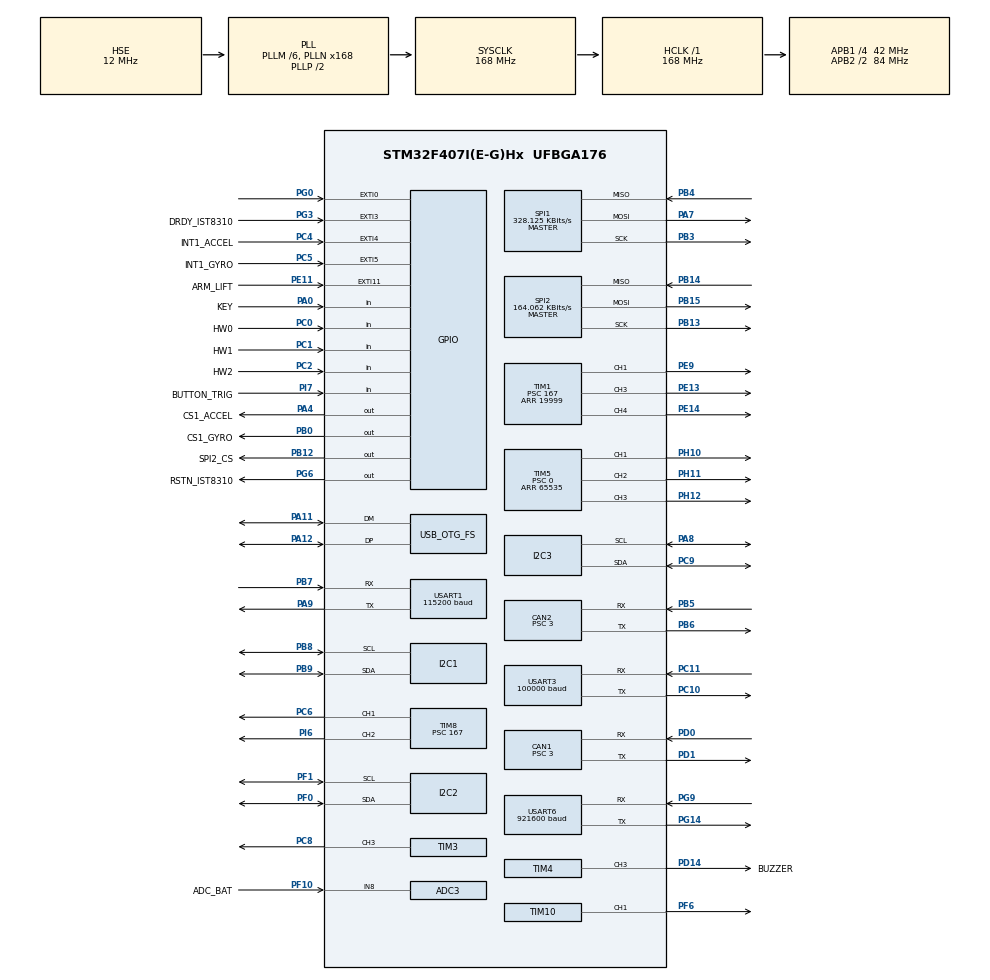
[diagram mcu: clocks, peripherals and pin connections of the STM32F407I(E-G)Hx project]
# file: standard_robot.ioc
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ADC1.Channel-0\#ChannelRegularConversion=ADC_CHANNEL_TEMPSENSOR
ADC1.ClockPrescaler=ADC_CLOCK_SYNC_PCLK_DIV6
ADC1.NbrOfConversionFlag=1
ADC1.Rank-0\#ChannelRegularConversion=1
ADC1.SamplingTime-0\#ChannelRegularConversion=ADC_SAMPLETIME_3CYCLES
ADC1.master=1
ADC3.Channel-0\#ChannelRegularConversion=ADC_CHANNEL_8
ADC3.ClockPrescaler=ADC_CLOCK_SYNC_PCLK_DIV6
ADC3.NbrOfConversionFlag=1
ADC3.Rank-0\#ChannelRegularConversion=1
ADC3.SamplingTime-0\#ChannelRegularConversion=ADC_SAMPLETIME_3CYCLES
CAN1.BS1=CAN_BS1_10TQ
CAN1.BS2=CAN_BS2_3TQ
CAN1.CalculateBaudRate=1000000
CAN1.CalculateTimeQuantum=71.42857142857143
CAN1.Prescaler=3
CAN2.BS1=CAN_BS1_10TQ
CAN2.BS2=CAN_BS2_3TQ
CAN2.CalculateBaudRate=1000000
CAN2.CalculateTimeQuantum=71.42857142857143
CAN2.Prescaler=3
Dma.I2C2_TX.2.Direction=DMA_MEMORY_TO_PERIPH
Dma.I2C2_TX.2.FIFOMode=DMA_FIFOMODE_DISABLE
Dma.I2C2_TX.2.Instance=DMA1_Stream7
Dma.I2C2_TX.2.MemDataAlignment=DMA_MDATAALIGN_BYTE
Dma.I2C2_TX.2.MemInc=DMA_MINC_ENABLE
Dma.I2C2_TX.2.Mode=DMA_NORMAL
Dma.I2C2_TX.2.PeriphDataAlignment=DMA_PDATAALIGN_BYTE
Dma.I2C2_TX.2.PeriphInc=DMA_PINC_DISABLE
Dma.I2C2_TX.2.Priority=DMA_PRIORITY_HIGH
Dma.Request0=SPI1_RX
Dma.Request1=SPI1_TX
Dma.Request2=I2C2_TX
Dma.Request3=USART3_RX
Dma.Request4=USART1_TX
Dma.Request5=USART1_RX
Dma.Request6=USART6_RX
Dma.Request7=USART6_TX
Dma.SPI1_RX.0.Direction=DMA_PERIPH_TO_MEMORY
Dma.SPI1_RX.0.FIFOMode=DMA_FIFOMODE_DISABLE
Dma.SPI1_RX.0.Instance=DMA2_Stream2
Dma.SPI1_RX.0.MemDataAlignment=DMA_MDATAALIGN_BYTE
Dma.SPI1_RX.0.MemInc=DMA_MINC_ENABLE
Dma.SPI1_RX.0.Mode=DMA_NORMAL
Dma.SPI1_RX.0.PeriphDataAlignment=DMA_PDATAALIGN_BYTE
Dma.SPI1_RX.0.PeriphInc=DMA_PINC_DISABLE
Dma.SPI1_RX.0.Priority=DMA_PRIORITY_VERY_HIGH
Dma.SPI1_TX.1.Direction=DMA_MEMORY_TO_PERIPH
Dma.SPI1_TX.1.FIFOMode=DMA_FIFOMODE_DISABLE
Dma.SPI1_TX.1.Instance=DMA2_Stream3
Dma.SPI1_TX.1.MemDataAlignment=DMA_MDATAALIGN_BYTE
Dma.SPI1_TX.1.MemInc=DMA_MINC_ENABLE
Dma.SPI1_TX.1.Mode=DMA_NORMAL
Dma.SPI1_TX.1.PeriphDataAlignment=DMA_PDATAALIGN_BYTE
Dma.SPI1_TX.1.PeriphInc=DMA_PINC_DISABLE
Dma.SPI1_TX.1.Priority=DMA_PRIORITY_HIGH
Dma.USART1_RX.5.Direction=DMA_PERIPH_TO_MEMORY
Dma.USART1_RX.5.FIFOMode=DMA_FIFOMODE_DISABLE
Dma.USART1_RX.5.Instance=DMA2_Stream5
Dma.USART1_RX.5.MemDataAlignment=DMA_MDATAALIGN_BYTE
Dma.USART1_RX.5.MemInc=DMA_MINC_ENABLE
Dma.USART1_RX.5.Mode=DMA_NORMAL
Dma.USART1_RX.5.PeriphDataAlignment=DMA_PDATAALIGN_BYTE
Dma.USART1_RX.5.PeriphInc=DMA_PINC_DISABLE
Dma.USART1_RX.5.Priority=DMA_PRIORITY_HIGH
Dma.USART1_TX.4.Direction=DMA_MEMORY_TO_PERIPH
Dma.USART1_TX.4.FIFOMode=DMA_FIFOMODE_DISABLE
Dma.USART1_TX.4.Instance=DMA2_Stream7
Dma.USART1_TX.4.MemDataAlignment=DMA_MDATAALIGN_BYTE
Dma.USART1_TX.4.MemInc=DMA_MINC_ENABLE
Dma.USART1_TX.4.Mode=DMA_NORMAL
Dma.USART1_TX.4.PeriphDataAlignment=DMA_PDATAALIGN_BYTE
Dma.USART1_TX.4.PeriphInc=DMA_PINC_DISABLE
Dma.USART1_TX.4.Priority=DMA_PRIORITY_MEDIUM
Dma.USART3_RX.3.Direction=DMA_PERIPH_TO_MEMORY
Dma.USART3_RX.3.FIFOMode=DMA_FIFOMODE_DISABLE
Dma.USART3_RX.3.Instance=DMA1_Stream1
Dma.USART3_RX.3.MemDataAlignment=DMA_MDATAALIGN_BYTE
Dma.USART3_RX.3.MemInc=DMA_MINC_ENABLE
Dma.USART3_RX.3.Mode=DMA_NORMAL
Dma.USART3_RX.3.PeriphDataAlignment=DMA_PDATAALIGN_BYTE
Dma.USART3_RX.3.PeriphInc=DMA_PINC_DISABLE
Dma.USART3_RX.3.Priority=DMA_PRIORITY_VERY_HIGH
Dma.USART6_RX.6.Direction=DMA_PERIPH_TO_MEMORY
Dma.USART6_RX.6.FIFOMode=DMA_FIFOMODE_DISABLE
Dma.USART6_RX.6.Instance=DMA2_Stream1
Dma.USART6_RX.6.MemDataAlignment=DMA_MDATAALIGN_BYTE
Dma.USART6_RX.6.MemInc=DMA_MINC_ENABLE
Dma.USART6_RX.6.Mode=DMA_NORMAL
Dma.USART6_RX.6.PeriphDataAlignment=DMA_PDATAALIGN_BYTE
Dma.USART6_RX.6.PeriphInc=DMA_PINC_DISABLE
Dma.USART6_RX.6.Priority=DMA_PRIORITY_HIGH
Dma.USART6_TX.7.Direction=DMA_MEMORY_TO_PERIPH
Dma.USART6_TX.7.FIFOMode=DMA_FIFOMODE_DISABLE
Dma.USART6_TX.7.Instance=DMA2_Stream6
Dma.USART6_TX.7.MemDataAlignment=DMA_MDATAALIGN_BYTE
Dma.USART6_TX.7.MemInc=DMA_MINC_ENABLE
Dma.USART6_TX.7.Mode=DMA_NORMAL
Dma.USART6_TX.7.PeriphDataAlignment=DMA_PDATAALIGN_BYTE
Dma.USART6_TX.7.PeriphInc=DMA_PINC_DISABLE
Dma.USART6_TX.7.Priority=DMA_PRIORITY_MEDIUM
FREERTOS.INCLUDE_eTaskGetState=1
FREERTOS.INCLUDE_pcTaskGetTaskName=1
FREERTOS.INCLUDE_uxTaskGetStackHighWaterMark=1
FREERTOS.INCLUDE_vTaskCleanUpResources=1
FREERTOS.INCLUDE_vTaskDelayUntil=1
FREERTOS.INCLUDE_xEventGroupSetBitFromISR=1
FREERTOS.INCLUDE_xQueueGetMutexHolder=1
FREERTOS.INCLUDE_xSemaphoreGetMutexHolder=1
FREERTOS.INCLUDE_xTaskAbortDelay=1
FREERTOS.INCLUDE_xTaskGetCurrentTaskHandle=1
FREERTOS.INCLUDE_xTaskGetHandle=1
FREERTOS.INCLUDE_xTimerPendFunctionCall=1
FREERTOS.Tasks01=INSTask,3,1024,StartINSTask,Default,NULL,Dynamic,NULL,NULL;ledTask,-3,512,led_Task,As external,NULL,Dynamic,NULL,NULL
FREERTOS.configTOTAL_HEAP_SIZE=24576
FREERTOS.configUSE_NEWLIB_REENTRANT=1
I2C1.I2C_Mode=I2C_Fast
I2C2.I2C_Mode=I2C_Fast
I2C3.I2C_Mode=I2C_Fast
Mcu.Family=STM32F4
Mcu.Name=STM32F407I(E-G)Hx
Mcu.Package=UFBGA176
NVIC.CAN1_RX0_IRQn=true\:6\:0\:true\:false\:true\:true\:true\:true\:true
NVIC.CAN1_RX1_IRQn=true\:5\:0\:false\:false\:true\:true\:true\:true\:true
NVIC.CAN2_RX0_IRQn=true\:5\:0\:false\:false\:true\:true\:true\:true\:true
NVIC.DMA1_Stream1_IRQn=true\:5\:0\:true\:false\:false\:true\:false\:false\:true
NVIC.DMA1_Stream7_IRQn=true\:5\:0\:true\:false\:false\:true\:false\:true\:true
NVIC.DMA2_Stream1_IRQn=true\:5\:0\:false\:false\:true\:true\:false\:true\:true
NVIC.DMA2_Stream2_IRQn=true\:5\:0\:true\:false\:false\:true\:false\:true\:true
NVIC.DMA2_Stream3_IRQn=true\:5\:0\:true\:false\:false\:true\:false\:true\:true
NVIC.DMA2_Stream5_IRQn=true\:5\:0\:false\:false\:true\:true\:false\:true\:true
NVIC.DMA2_Stream6_IRQn=true\:5\:0\:false\:false\:true\:true\:false\:true\:true
NVIC.DMA2_Stream7_IRQn=true\:5\:0\:true\:false\:true\:true\:false\:true\:true
NVIC.EXTI0_IRQn=true\:5\:0\:false\:false\:true\:true\:true\:true\:true
NVIC.EXTI3_IRQn=true\:5\:0\:false\:false\:true\:true\:true\:true\:true
NVIC.EXTI4_IRQn=true\:5\:0\:false\:false\:true\:true\:true\:true\:true
NVIC.EXTI9_5_IRQn=true\:5\:0\:false\:false\:true\:true\:true\:true\:true
NVIC.OTG_FS_IRQn=true\:5\:0\:false\:false\:true\:true\:false\:true\:true
NVIC.PriorityGroup=NVIC_PRIORITYGROUP_4
NVIC.TIM6_DAC_IRQn=true\:0\:0\:false\:false\:true\:false\:false\:true\:true
NVIC.TimeBase=TIM6_DAC_IRQn
NVIC.TimeBaseIP=TIM6
NVIC.USART1_IRQn=true\:5\:0\:false\:false\:true\:true\:true\:true\:true
NVIC.USART3_IRQn=true\:4\:0\:true\:false\:false\:false\:true\:true\:true
NVIC.USART6_IRQn=true\:5\:0\:true\:false\:false\:true\:true\:true\:true
PA0-WKUP.GPIO_Label=KEY
PA0-WKUP.GPIO_PuPd=GPIO_PULLUP
PA0-WKUP.Signal=GPIO_Input
PA11.Mode=Device_Only
PA11.Signal=USB_OTG_FS_DM
PA12.Mode=Device_Only
PA12.Signal=USB_OTG_FS_DP
PA13.Mode=Serial_Wire
PA13.Signal=SYS_JTMS-SWDIO
PA14.Mode=Serial_Wire
PA14.Signal=SYS_JTCK-SWCLK
PA4.GPIO_Label=CS1_ACCEL
PA4.GPIO_PuPd=GPIO_PULLUP
PA4.GPIO_Speed=GPIO_SPEED_FREQ_HIGH
PA4.PinState=GPIO_PIN_SET
PA4.Signal=GPIO_Output
PA7.GPIO_PuPd=GPIO_PULLUP
PA7.Mode=Full_Duplex_Master
PA7.Signal=SPI1_MOSI
PA8.GPIO_Pu=GPIO_PULLUP
PA8.Mode=I2C
PA8.Signal=I2C3_SCL
PA9.Mode=Asynchronous
PA9.Signal=USART1_TX
PB0.GPIO_Label=CS1_GYRO
PB0.GPIO_PuPd=GPIO_PULLUP
PB0.GPIO_Speed=GPIO_SPEED_FREQ_HIGH
PB0.PinState=GPIO_PIN_SET
PB0.Signal=GPIO_Output
PB12.GPIO_Label=SPI2_CS
PB12.GPIO_PuPd=GPIO_PULLUP
PB12.GPIO_Speed=GPIO_SPEED_FREQ_MEDIUM
PB12.PinState=GPIO_PIN_SET
PB12.Signal=GPIO_Output
PB13.GPIO_PuPd=GPIO_PULLUP
PB13.Mode=Full_Duplex_Master
PB13.Signal=SPI2_SCK
PB14.GPIO_PuPd=GPIO_PULLUP
PB14.Mode=Full_Duplex_Master
PB14.Signal=SPI2_MISO
PB15.GPIO_PuPd=GPIO_PULLUP
PB15.Mode=Full_Duplex_Master
PB15.Signal=SPI2_MOSI
PB3.GPIO_PuPd=GPIO_PULLUP
PB3.Mode=Full_Duplex_Master
PB3.Signal=SPI1_SCK
PB4.GPIO_PuPd=GPIO_PULLUP
PB4.Mode=Full_Duplex_Master
PB4.Signal=SPI1_MISO
PB5.Mode=CAN_Activate
PB5.Signal=CAN2_RX
PB6.Mode=CAN_Activate
PB6.Signal=CAN2_TX
PB7.Mode=Asynchronous
PB7.Signal=USART1_RX
PB8.GPIO_Pu=GPIO_PULLUP
PB8.Mode=I2C
PB8.Signal=I2C1_SCL
PB9.GPIO_Pu=GPIO_PULLUP
PB9.Mode=I2C
PB9.Signal=I2C1_SDA
PC0.GPIO_Label=HW0
PC0.Signal=GPIO_Input
PC1.GPIO_Label=HW1
PC1.Signal=GPIO_Input
PC10.Mode=Asynchronous
PC10.Signal=USART3_TX
PC11.Mode=Asynchronous
PC11.Signal=USART3_RX
PC2.GPIO_Label=HW2
PC2.Signal=GPIO_Input
PC4.GPIO_Label=INT1_ACCEL
PC4.GPIO_ModeDefaultEXTI=GPIO_MODE_IT_FALLING
PC4.GPIO_PuPd=GPIO_PULLUP
PC4.Signal=GPXTI4
PC5.GPIO_Label=INT1_GYRO
PC5.GPIO_ModeDefaultEXTI=GPIO_MODE_IT_FALLING
PC5.GPIO_PuPd=GPIO_PULLUP
PC5.Signal=GPXTI5
PC6.GPIO_PuPd=GPIO_PULLUP
PC6.GPIO_Speed=GPIO_SPEED_FREQ_HIGH
PC6.Signal=S_TIM8_CH1
PC8.GPIO_PuPd=GPIO_PULLUP
PC8.GPIO_Speed=GPIO_SPEED_FREQ_HIGH
PC8.Signal=S_TIM3_CH3
PC9.GPIO_Pu=GPIO_PULLUP
PC9.Mode=I2C
PC9.Signal=I2C3_SDA
PD0.Mode=CAN_Activate
PD0.Signal=CAN1_RX
PD1.Mode=CAN_Activate
PD1.Signal=CAN1_TX
PD14.GPIO_Label=BUZZER
PD14.GPIO_PuPd=GPIO_PULLUP
PD14.GPIO_Speed=GPIO_SPEED_FREQ_VERY_HIGH
PD14.Signal=S_TIM4_CH3
PE11.GPIO_Label=ARM_LIFT
PE11.GPIO_ModeDefaultEXTI=GPIO_MODE_IT_RISING
PE11.GPIO_PuPd=GPIO_PULLDOWN
PE11.Signal=GPXTI11
PE13.GPIO_PuPd=GPIO_PULLUP
PE13.GPIO_Speed=GPIO_SPEED_FREQ_HIGH
PE13.Signal=S_TIM1_CH3
PE14.GPIO_PuPd=GPIO_PULLUP
PE14.GPIO_Speed=GPIO_SPEED_FREQ_HIGH
PE14.Signal=S_TIM1_CH4
PE9.GPIO_PuPd=GPIO_PULLUP
PE9.GPIO_Speed=GPIO_SPEED_FREQ_HIGH
PE9.Signal=S_TIM1_CH1
PF0.GPIO_Pu=GPIO_PULLUP
PF0.Mode=I2C
PF0.Signal=I2C2_SDA
PF1.GPIO_Pu=GPIO_PULLUP
PF1.Mode=I2C
PF1.Signal=I2C2_SCL
PF10.GPIO_Label=ADC_BAT
PF10.Mode=IN8
PF10.Signal=ADC3_IN8
PF6.GPIO_PuPd=GPIO_PULLUP
PF6.GPIO_Speed=GPIO_SPEED_FREQ_HIGH
PF6.Signal=S_TIM10_CH1
PG0.GPIO_ModeDefaultEXTI=GPIO_MODE_IT_FALLING
PG0.GPIO_PuPd=GPIO_PULLUP
PG0.Signal=GPXTI0
PG14.Mode=Asynchronous
PG14.Signal=USART6_TX
PG3.GPIO_Label=DRDY_IST8310
PG3.GPIO_ModeDefaultEXTI=GPIO_MODE_IT_FALLING
PG3.GPIO_PuPd=GPIO_PULLUP
PG3.Signal=GPXTI3
PG6.GPIO_Label=RSTN_IST8310
PG6.GPIO_PuPd=GPIO_PULLUP
PG6.GPIO_Speed=GPIO_SPEED_FREQ_MEDIUM
PG6.PinState=GPIO_PIN_SET
PG6.Signal=GPIO_Output
PG9.Mode=Asynchronous
PG9.Signal=USART6_RX
PH0-OSC_IN.Mode=HSE-External-Oscillator
PH0-OSC_IN.Signal=RCC_OSC_IN
PH1-OSC_OUT.Mode=HSE-External-Oscillator
PH1-OSC_OUT.Signal=RCC_OSC_OUT
PH10.GPIO_PuPd=GPIO_PULLUP
PH10.GPIO_Speed=GPIO_SPEED_FREQ_HIGH
PH10.Signal=S_TIM5_CH1
PH11.GPIO_PuPd=GPIO_PULLUP
PH11.GPIO_Speed=GPIO_SPEED_FREQ_HIGH
PH11.Signal=S_TIM5_CH2
PH12.GPIO_PuPd=GPIO_PULLUP
PH12.GPIO_Speed=GPIO_SPEED_FREQ_HIGH
PH12.Signal=S_TIM5_CH3
PI6.GPIO_PuPd=GPIO_PULLUP
PI6.GPIO_Speed=GPIO_SPEED_FREQ_HIGH
PI6.Signal=S_TIM8_CH2
PI7.GPIO_Label=BUTTON_TRIG
PI7.GPIO_PuPd=GPIO_PULLUP
PI7.Signal=GPIO_Input
ProjectManager.HeapSize=0x2000
ProjectManager.StackSize=0x2000
ProjectManager.TargetToolchain=CMake
RCC.48MHZClocksFreq_Value=48000000
RCC.AHBFreq_Value=168000000
RCC.APB1CLKDivider=RCC_HCLK_DIV4
RCC.APB1Freq_Value=42000000
RCC.APB1TimFreq_Value=84000000
RCC.APB2CLKDivider=RCC_HCLK_DIV2
RCC.APB2Freq_Value=84000000
RCC.APB2TimFreq_Value=168000000
RCC.CortexFreq_Value=168000000
RCC.HCLKFreq_Value=168000000
RCC.HSE_VALUE=12000000
RCC.HSI_VALUE=16000000
RCC.LSE_VALUE=32768
RCC.PLLM=6
RCC.PLLN=168
RCC.PLLQ=7
RCC.RCC_RTC_Clock_SourceVirtual=RCC_RTCCLKSOURCE_HSE_DIV30
RCC.RCC_RTC_Clock_Source_FROM_HSE=RCC_RTCCLKSOURCE_HSE_DIV30
RCC.SYSCLKFreq_VALUE=168000000
RCC.SYSCLKSource=RCC_SYSCLKSOURCE_PLLCLK
RCC.VCOOutputFreq_Value=336000000
RTC.AsynchPrediv=124
RTC.SynchPrediv=3199
SH.S_TIM10_CH1.0=TIM10_CH1,PWM Generation1 CH1
SH.S_TIM1_CH1.0=TIM1_CH1,PWM Generation1 CH1
SH.S_TIM1_CH3.0=TIM1_CH3,PWM Generation3 CH3
SH.S_TIM1_CH4.0=TIM1_CH4,PWM Generation4 CH4
SH.S_TIM3_CH3.0=TIM3_CH3,PWM Generation3 CH3
SH.S_TIM4_CH3.0=TIM4_CH3,PWM Generation3 CH3
SH.S_TIM5_CH1.0=TIM5_CH1,PWM Generation1 CH1
SH.S_TIM5_CH2.0=TIM5_CH2,PWM Generation2 CH2
SH.S_TIM5_CH3.0=TIM5_CH3,PWM Generation3 CH3
SH.S_TIM8_CH1.0=TIM8_CH1,PWM Generation1 CH1
SH.S_TIM8_CH2.0=TIM8_CH2,PWM Generation2 CH2
SPI1.BaudRatePrescaler=SPI_BAUDRATEPRESCALER_256
SPI1.CLKPhase=SPI_PHASE_2EDGE
SPI1.CLKPolarity=SPI_POLARITY_HIGH
SPI1.CalculateBaudRate=328.125 KBits/s
SPI1.Direction=SPI_DIRECTION_2LINES
SPI1.Mode=SPI_MODE_MASTER
SPI1.VirtualType=VM_MASTER
SPI2.BaudRatePrescaler=SPI_BAUDRATEPRESCALER_256
SPI2.CLKPhase=SPI_PHASE_2EDGE
SPI2.CLKPolarity=SPI_POLARITY_HIGH
SPI2.CalculateBaudRate=164.062 KBits/s
SPI2.Direction=SPI_DIRECTION_2LINES
SPI2.Mode=SPI_MODE_MASTER
SPI2.VirtualType=VM_MASTER
STMicroelectronics.X-CUBE-ALGOBUILD.1.4.0.LibraryCcDSPOoLibraryJjDSPOoLibrary=true
TIM1.Channel-PWM\ Generation1\ CH1=TIM_CHANNEL_1
TIM1.Channel-PWM\ Generation3\ CH3=TIM_CHANNEL_3
TIM1.Channel-PWM\ Generation4\ CH4=TIM_CHANNEL_4
TIM1.Period=19999
TIM1.Prescaler=167
TIM1.Pulse-PWM\ Generation1\ CH1=1000
TIM1.Pulse-PWM\ Generation3\ CH3=1000
TIM1.Pulse-PWM\ Generation4\ CH4=1000
TIM10.Channel=TIM_CHANNEL_1
TIM10.Period=4999
TIM3.Channel-PWM\ Generation3\ CH3=TIM_CHANNEL_3
TIM3.Period=1000
TIM3.Prescaler=83
TIM4.Channel-PWM\ Generation3\ CH3=TIM_CHANNEL_3
TIM4.Period=65535
TIM4.Prescaler=167
TIM5.Channel-PWM\ Generation1\ CH1=TIM_CHANNEL_1
TIM5.Channel-PWM\ Generation2\ CH2=TIM_CHANNEL_2
TIM5.Channel-PWM\ Generation3\ CH3=TIM_CHANNEL_3
TIM5.Period=65535
TIM5.Prescaler=0
TIM8.Channel-PWM\ Generation1\ CH1=TIM_CHANNEL_1
TIM8.Channel-PWM\ Generation2\ CH2=TIM_CHANNEL_2
TIM8.Period=19999
TIM8.Prescaler=167
TIM8.Pulse-PWM\ Generation1\ CH1=1000
TIM8.Pulse-PWM\ Generation2\ CH2=1000
USART1.BaudRate=115200
USART1.VirtualMode=VM_ASYNC
USART3.BaudRate=100000
USART3.Parity=PARITY_EVEN
USART3.VirtualMode=VM_ASYNC
USART6.BaudRate=921600
USART6.VirtualMode=VM_ASYNC
USB_DEVICE.CLASS_NAME_FS=CDC
USB_DEVICE.VirtualMode-CDC_FS=Cdc
USB_DEVICE.VirtualModeFS=Cdc_FS
USB_OTG_FS.VirtualMode=Device_Only
VP_ADC1_TempSens_Input.Mode=IN-TempSens
VP_ADC1_Vref_Input.Mode=IN-Vrefint
VP_CRC_VS_CRC.Mode=CRC_Activate
VP_FREERTOS_VS_CMSIS_V1.Mode=CMSIS_V1
VP_RNG_VS_RNG.Mode=RNG_Activate
VP_RTC_VS_RTC_Activate.Mode=RTC_Enabled
VP_STMicroelectronics.X-CUBE-ALGOBUILD_VS_DSPOoLibraryJjLibrary_1.4.0_1.4.0.Mode=DSPOoLibraryJjLibrary
VP_SYS_VS_tim6.Mode=TIM6
VP_TIM10_VS_ClockSourceINT.Mode=Enable_Timer
VP_TIM1_VS_ClockSourceINT.Mode=Internal
VP_TIM3_VS_ClockSourceINT.Mode=Internal
VP_TIM4_VS_ClockSourceINT.Mode=Internal
VP_TIM5_VS_ClockSourceINT.Mode=Internal
VP_TIM8_VS_ClockSourceINT.Mode=Internal
VP_USB_DEVICE_VS_USB_DEVICE_CDC_FS.Mode=CDC_FS
board=custom

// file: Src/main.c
/* USER CODE BEGIN Header */
/**
  ******************************************************************************
  * @file           : main.c
  * @brief          : Main program body
  ******************************************************************************
  * @attention
  *
  * Copyright (c) 2025 STMicroelectronics.
  * All rights reserved.
  *
  * This software is licensed under terms that can be found in the LICENSE file
  * in the root directory of this software component.
  * If no LICENSE file comes with this software, it is provided AS-IS.
  *
  ******************************************************************************
  */
/* USER CODE END Header */
#include "main.h"
#include "cmsis_os.h"
#include "adc.h"
#include "can.h"
#include "crc.h"
#include "dma.h"
#include "i2c.h"
#include "rng.h"
#include "rtc.h"
#include "spi.h"
#include "tim.h"
#include "usart.h"
#include "usb_device.h"
#include "gpio.h"

/* USER CODE BEGIN Includes */
#include "bsp_can.h"
#include "bsp_delay.h"
#include "bsp_usart.h"
#include "DT7.h"
// #include "SEGGER_SYSVIEW.h"
#include "bsp_dwt.h"
// #include "SEGGER_RTT.h"
#include "BMI088driver.h"
/* USER CODE END Includes */

void SystemClock_Config(void);
void MX_FREERTOS_Init(void);

int main(void)
{

  /* MCU Configuration--------------------------------------------------------*/

  /* Reset of all peripherals, Initializes the Flash interface and the Systick. */
  HAL_Init();

  /* Configure the system clock */
  SystemClock_Config();

  /* Initialize all configured peripherals */
  MX_GPIO_Init();
  MX_DMA_Init();
  MX_ADC1_Init();
  MX_ADC3_Init();
  MX_CAN1_Init();
  MX_CAN2_Init();
  MX_I2C1_Init();
  MX_SPI1_Init();
  MX_TIM4_Init();
  MX_TIM5_Init();
  MX_USART3_UART_Init();
  MX_TIM8_Init();
  MX_CRC_Init();
  MX_RNG_Init();
  MX_I2C2_Init();
  MX_I2C3_Init();
  MX_RTC_Init();
  MX_SPI2_Init();
  MX_TIM1_Init();
  MX_TIM3_Init();
  MX_TIM10_Init();
  MX_USART1_UART_Init();
  MX_USART6_UART_Init();
  /* USER CODE BEGIN 2 */
  can_filter_init();
  delay_init();
  usart1_tx_dma_init();
  remote_control_init();
  MX_USB_DEVICE_Init();
  // ��ʼ�������
  HAL_TIM_PWM_Start(&htim3,TIM_CHANNEL_3);
  __HAL_TIM_SetCompare(&htim3, TIM_CHANNEL_3, 80);

  // SEGGER_RTT_WriteString(0, "RTT Test: System starting...\r\n");

  // SEGGER_SYSVIEW_Conf();

  DWT_Init(168);
    while (BMI088_init(&hspi1, 1) != BMI088_NO_ERROR)
        ;

  // SEGGER_RTT_WriteString(0, "SystemView initialized\r\n");
  /* USER CODE END 2 */

  /* Call init function for freertos objects (in cmsis_os2.c) */
  MX_FREERTOS_Init();

  /* Start scheduler */
  osKernelStart();

  /* We should never get here as control is now taken by the scheduler */

  /* Infinite loop */
  while (1)
  {

  }
}

void SystemClock_Config(void)
{
  RCC_OscInitTypeDef RCC_OscInitStruct = {0};
  RCC_ClkInitTypeDef RCC_ClkInitStruct = {0};

  /** Configure the main internal regulator output voltage
  */
  __HAL_RCC_PWR_CLK_ENABLE();
  __HAL_PWR_VOLTAGESCALING_CONFIG(PWR_REGULATOR_VOLTAGE_SCALE1);

  /** Initializes the RCC Oscillators according to the specified parameters
  * in the RCC_OscInitTypeDef structure.
  */
  RCC_OscInitStruct.OscillatorType = RCC_OSCILLATORTYPE_HSE;
  RCC_OscInitStruct.HSEState = RCC_HSE_ON;
  RCC_OscInitStruct.PLL.PLLState = RCC_PLL_ON;
  RCC_OscInitStruct.PLL.PLLSource = RCC_PLLSOURCE_HSE;
  RCC_OscInitStruct.PLL.PLLM = 6;
  RCC_OscInitStruct.PLL.PLLN = 168;
  RCC_OscInitStruct.PLL.PLLP = RCC_PLLP_DIV2;
  RCC_OscInitStruct.PLL.PLLQ = 7;
  if (HAL_RCC_OscConfig(&RCC_OscInitStruct) != HAL_OK)
  {
    Error_Handler();
  }

  /** Initializes the CPU, AHB and APB buses clocks
  */
  RCC_ClkInitStruct.ClockType = RCC_CLOCKTYPE_HCLK|RCC_CLOCKTYPE_SYSCLK
                              |RCC_CLOCKTYPE_PCLK1|RCC_CLOCKTYPE_PCLK2;
  RCC_ClkInitStruct.SYSCLKSource = RCC_SYSCLKSOURCE_PLLCLK;
  RCC_ClkInitStruct.AHBCLKDivider = RCC_SYSCLK_DIV1;
  RCC_ClkInitStruct.APB1CLKDivider = RCC_HCLK_DIV4;
  RCC_ClkInitStruct.APB2CLKDivider = RCC_HCLK_DIV2;

  if (HAL_RCC_ClockConfig(&RCC_ClkInitStruct, FLASH_LATENCY_5) != HAL_OK)
  {
    Error_Handler();
  }
}

void HAL_TIM_PeriodElapsedCallback(TIM_HandleTypeDef *htim)
{
  if (htim->Instance == TIM6)
  {
    HAL_IncTick();
  }
}

void Error_Handler(void)
{
  __disable_irq();
  while (1)
  {
  }
}

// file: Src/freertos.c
/* USER CODE BEGIN Header */
/**
  ******************************************************************************
  * File Name          : freertos.c
  * Description        : Code for freertos applications
  ******************************************************************************
  * @attention
  *
  * Copyright (c) 2025 STMicroelectronics.
  * All rights reserved.
  *
  * This software is licensed under terms that can be found in the LICENSE file
  * in the root directory of this software component.
  * If no LICENSE file comes with this software, it is provided AS-IS.
  *
  ******************************************************************************
  */
/* USER CODE END Header */

#include "FreeRTOS.h"
#include "task.h"
#include "main.h"
#include "cmsis_os.h"

/* USER CODE BEGIN Includes */
#include "ins_task.h" //* whx的
/* USER CODE END Includes */

/* USER CODE BEGIN Variables */
// osThreadId imuTaskHandle;
osThreadId gimbalTaskHandle;
osThreadId usbTaskHandle;
/* USER CODE END Variables */
osThreadId INSTaskHandle;
osThreadId ledTaskHandle;

/* USER CODE BEGIN FunctionPrototypes */
// extern void imu_task(void const * argument);
extern void gimbal_task(void const * argument);
extern void usbSendTask(void const * argument);
/* USER CODE END FunctionPrototypes */

void StartINSTask(void const * argument);
extern void led_Task(void const * argument);

extern void MX_USB_DEVICE_Init(void);
void MX_FREERTOS_Init(void); /* (MISRA C 2004 rule 8.1) */

/* GetIdleTaskMemory prototype (linked to static allocation support) */
void vApplicationGetIdleTaskMemory( StaticTask_t **ppxIdleTaskTCBBuffer, StackType_t **ppxIdleTaskStackBuffer, uint32_t *pulIdleTaskStackSize );

/* GetTimerTaskMemory prototype (linked to static allocation support) */
void vApplicationGetTimerTaskMemory( StaticTask_t **ppxTimerTaskTCBBuffer, StackType_t **ppxTimerTaskStackBuffer, uint32_t *pulTimerTaskStackSize );

/* USER CODE BEGIN GET_IDLE_TASK_MEMORY */
static StaticTask_t xIdleTaskTCBBuffer;
static StackType_t xIdleStack[configMINIMAL_STACK_SIZE];

void vApplicationGetIdleTaskMemory( StaticTask_t **ppxIdleTaskTCBBuffer, StackType_t **ppxIdleTaskStackBuffer, uint32_t *pulIdleTaskStackSize )
{
  *ppxIdleTaskTCBBuffer = &xIdleTaskTCBBuffer;
  *ppxIdleTaskStackBuffer = &xIdleStack[0];
  *pulIdleTaskStackSize = configMINIMAL_STACK_SIZE;
  /* place for user code */
}
/* USER CODE END GET_IDLE_TASK_MEMORY */

/* USER CODE BEGIN GET_TIMER_TASK_MEMORY */
static StaticTask_t xTimerTaskTCBBuffer;
static StackType_t xTimerStack[configTIMER_TASK_STACK_DEPTH];

void vApplicationGetTimerTaskMemory( StaticTask_t **ppxTimerTaskTCBBuffer, StackType_t **ppxTimerTaskStackBuffer, uint32_t *pulTimerTaskStackSize )
{
  *ppxTimerTaskTCBBuffer = &xTimerTaskTCBBuffer;
  *ppxTimerTaskStackBuffer = &xTimerStack[0];
  *pulTimerTaskStackSize = configTIMER_TASK_STACK_DEPTH;
  /* place for user code */
}
/* USER CODE END GET_TIMER_TASK_MEMORY */

void MX_FREERTOS_Init(void) {

  /* Create the thread(s) */
  /* definition and creation of INSTask */
  osThreadDef(INSTask, StartINSTask, osPriorityRealtime, 0, 1024);
  INSTaskHandle = osThreadCreate(osThread(INSTask), NULL);

  /* definition and creation of ledTask */
  osThreadDef(ledTask, led_Task, osPriorityIdle, 0, 512);
  ledTaskHandle = osThreadCreate(osThread(ledTask), NULL);

  /* USER CODE BEGIN RTOS_THREADS */
  // osThreadDef(imuTask, imu_task, osPriorityRealtime, 0, 1024);
  // imuTaskHandle = osThreadCreate(osThread(imuTask), NULL);

  osThreadDef(gimbalTask, gimbal_task, osPriorityAboveNormal, 0, 512);
  gimbalTaskHandle = osThreadCreate(osThread(gimbalTask), NULL);

  osThreadDef(usbTask, usbSendTask, osPriorityNormal, 0, 512);
  usbTaskHandle = osThreadCreate(osThread(usbTask), NULL);

  /* USER CODE END RTOS_THREADS */

}

void StartINSTask(void const * argument)
{
  /* init code for USB_DEVICE */
  MX_USB_DEVICE_Init();
  /* USER CODE BEGIN StartINSTask */
  /* Infinite loop */
  for(;;)
  {
    INS_Task();
    osDelay(1);
  }
  /* USER CODE END StartINSTask */
}
